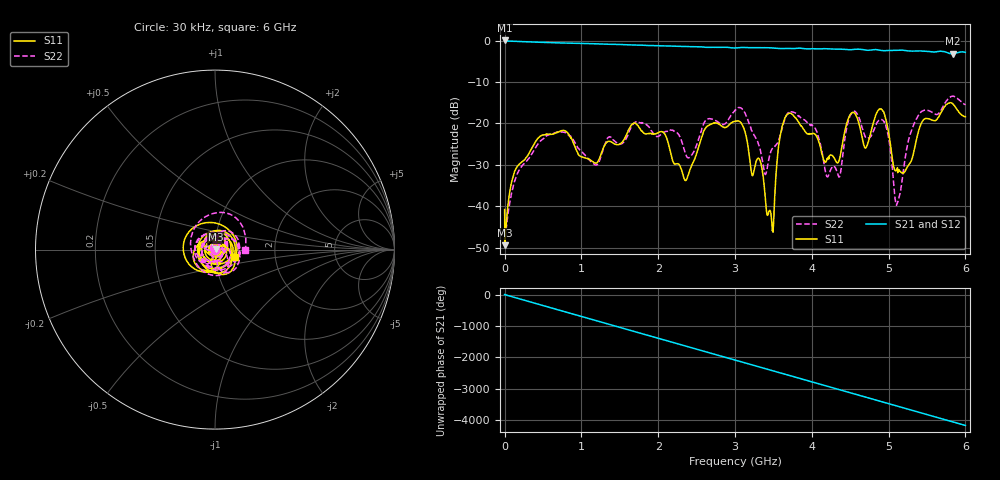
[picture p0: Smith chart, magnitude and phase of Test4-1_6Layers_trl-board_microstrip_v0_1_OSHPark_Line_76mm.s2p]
! Touchstone 1.1 file saved by VNA QT V0.2.3.0
! Sun Jul 18 21:26:55 2021
! HEWLETT PACKARD,8753D,0,6.14 OPT: 002 006 010
! IF bandwidth: 3000 Hz
! Output power level: 0.000000 dBm
! Smoothing OFF
! Averaging OFF
! Correction ON
! Params: S11 S21 S12 S22
! Start frequency: 0.000030000 GHz
! Stop frequency:  6.000000000 GHz
! Points: 1601
# HZ S DB R 50
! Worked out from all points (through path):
!   1601 points, 30 kHz to 6 GHz, reference 50 ohm
!   highest |S21| = 0.04 dB at 30 kHz (marker M1); lowest = -3.2 dB at 5.835 GHz (marker M2)
!   group delay of S21, straight-line fit = 1.93 ns
!   lowest |S11| = -49.4 dB at 3.78 MHz (marker M3), VSWR 1.01, Z = 50.3 + j0.102 ohm
!   |S11| at or under -10 dB: start of sweep to end of sweep
!   |S22| runs from -49.6 to -13.4 dB; largest |S21 - S12| = 0.027
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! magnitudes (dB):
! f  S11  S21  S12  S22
! 30 kHz  -40.8  0.0  0.0  -47.6
! 3.78 MHz  -49.4  0.0  0.0  -49.6
! 150 MHz  -30.8  -0.2  -0.2  -32.9
! 457.5 MHz  -23.2  -0.4  -0.4  -24.4
! 1.001 GHz  -28.0  -0.7  -0.7  -26.7
! 2.003 GHz  -22.2  -1.2  -1.3  -23.1
! 2.359 GHz  -33.8  -1.4  -1.4  -27.5
! 2.625 GHz  -20.9  -1.6  -1.6  -19.1
! 3 GHz  -19.4  -1.8  -1.7  -16.8
! 3.39 GHz  -37.0  -1.7  -1.7  -32.2
! 3.476 GHz  -43.1  -1.8  -1.7  -26.3
! 3.653 GHz  -18.6  -1.9  -1.8  -18.7
! 4.001 GHz  -22.5  -2.0  -1.9  -20.4
! 4.208 GHz  -28.6  -2.0  -2.0  -32.9
! 4.361 GHz  -28.5  -2.1  -2.0  -32.9
! 4.538 GHz  -17.3  -2.1  -2.1  -17.2
! 4.695 GHz  -25.9  -2.3  -2.1  -23.2
! 5.003 GHz  -22.5  -2.4  -2.3  -23.7
! 5.115 GHz  -30.7  -2.3  -2.3  -39.2
! 5.366 GHz  -23.6  -2.5  -2.5  -18.8
! 5.835 GHz  -15.2  -3.2  -3.0  -13.4
! 6 GHz  -18.4  -2.8  -3.0  -15.5
